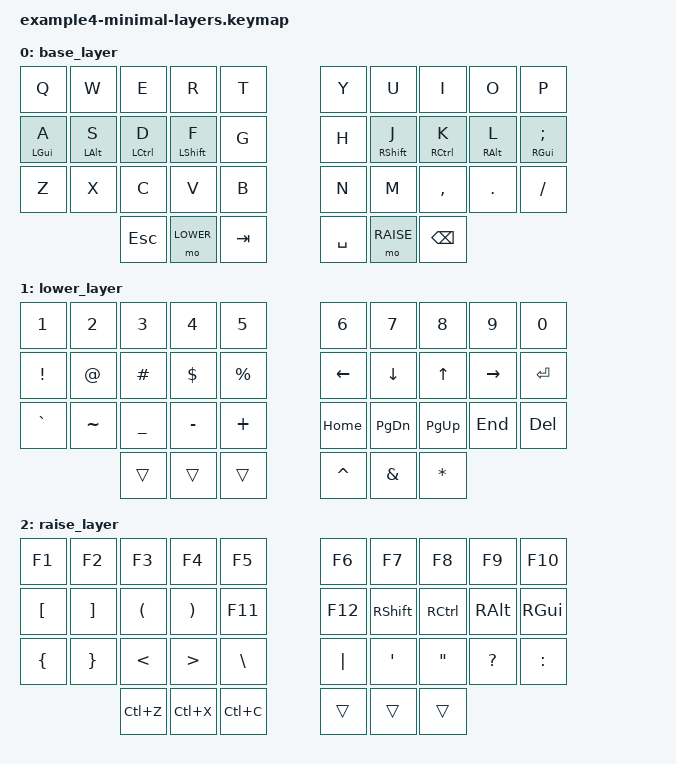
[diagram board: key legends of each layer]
// Example 4: Minimal Layer Switching
// Philosophy: Reduce cognitive load with only 2 main layers + function layer
// Focus: Everything you need within 1 layer switch
// Thumb Strategy: Each thumb has clear role - left modulates, right acts

#include <behaviors.dtsi>
#include <dt-bindings/zmk/keys.h>

#define BASE 0
#define LOWER 1
#define RAISE 2

/ {
    keymap {
        compatible = "zmk,keymap";

        base_layer {
            bindings = <
    // ╭─────────────┬─────────────┬─────────────┬─────────────┬─────────────╮   ╭─────────────┬─────────────┬─────────────┬─────────────┬─────────────╮
         &kp Q         &kp W         &kp E         &kp R         &kp T             &kp Y         &kp U         &kp I         &kp O         &kp P
    // ├─────────────┼─────────────┼─────────────┼─────────────┼─────────────┤   ├─────────────┼─────────────┼─────────────┼─────────────┼─────────────┤
         &mt LGUI A    &mt LALT S    &mt LCTRL D   &mt LSHFT F   &kp G             &kp H         &mt RSHFT J   &mt RCTRL K   &mt RALT L    &mt RGUI SEMI
    // ├─────────────┼─────────────┼─────────────┼─────────────┼─────────────┤   ├─────────────┼─────────────┼─────────────┼─────────────┼─────────────┤
         &kp Z         &kp X         &kp C         &kp V         &kp B             &kp N         &kp M         &kp COMMA     &kp DOT       &kp FSLH
    // ╰─────────────┴─────────────┴─────────────┼─────────────┼─────────────┤   ├─────────────┼─────────────┼─────────────┴─────────────┴─────────────╯
                                     &kp ESC       &mo LOWER     &kp TAB           &kp SPACE     &mo RAISE     &kp BSPC
    //                               ╰─────────────┴─────────────┴─────────────╯   ╰─────────────┴─────────────┴─────────────╯
            >;
        };

        lower_layer {
            // Numbers, symbols, navigation all in one
            bindings = <
         &kp N1        &kp N2        &kp N3        &kp N4        &kp N5            &kp N6        &kp N7        &kp N8        &kp N9        &kp N0
         &kp EXCL      &kp AT        &kp HASH      &kp DLLR      &kp PRCNT         &kp LEFT      &kp DOWN      &kp UP        &kp RIGHT     &kp RET
         &kp GRAVE     &kp TILDE     &kp UNDER     &kp MINUS     &kp PLUS          &kp HOME      &kp PG_DN     &kp PG_UP     &kp END       &kp DEL
                                     &trans        &trans        &trans            &kp CARET     &kp AMPS      &kp STAR
            >;
        };

        raise_layer {
            // Function keys, brackets, special chars
            bindings = <
         &kp F1        &kp F2        &kp F3        &kp F4        &kp F5            &kp F6        &kp F7        &kp F8        &kp F9        &kp F10
         &kp LBKT      &kp RBKT      &kp LPAR      &kp RPAR      &kp F11           &kp F12       &kp RSHFT     &kp RCTRL     &kp RALT      &kp RGUI
         &kp LBRC      &kp RBRC      &kp LT        &kp GT        &kp BSLH          &kp PIPE      &kp SQT       &kp DQT       &kp QMARK     &kp COLON
                                     &kp LC(Z)     &kp LC(X)     &kp LC(C)         &trans        &trans        &trans
            >;
        };
    };
};
